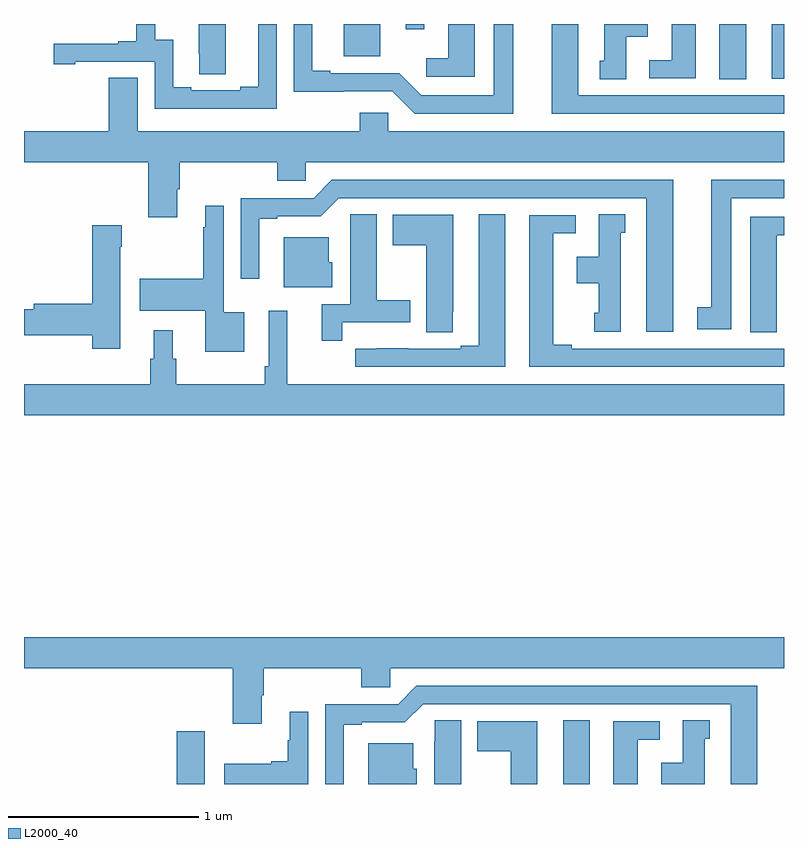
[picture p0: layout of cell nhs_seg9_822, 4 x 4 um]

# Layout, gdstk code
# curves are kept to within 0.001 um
import gdstk
lib = gdstk.Library(unit=1e-6, precision=1e-09)
def R(c, l, rs):  # rectangles x0, y0, x1, y1
    for r in rs: c.add(gdstk.rectangle(r[:2], r[2:], *l))
def P(c, l, *ps):  # polygons
    for p in ps: c.add(gdstk.Polygon(p, *l))
L2000_40 = (2000, 40)

nhs_seg9_822 = lib.new_cell('nhs_seg9_822')
R(nhs_seg9_822, L2000_40, [(155.804,1174.5,155.95,1174.777), (157.838,1174.5,157.978,1174.835), (158.66,1178.209,158.8,1178.5), (158.936,1178.213,159,1178.5), (156.683,1178.33,156.874,1178.5), (157.01,1178.472,157.107,1178.5)])
P(nhs_seg9_822, L2000_40, [(158.536,1178.5),(158.408,1178.5),(158.408,1178.31),(158.292,1178.31),(158.292,1178.214),(158.536,1178.214)],
  [(156.061,1178.5),(155.921,1178.5),(155.921,1178.344),(155.922,1178.344),(155.922,1178.236),(156.061,1178.236)],
  [(157.576,1178.5),(157.472,1178.5),(157.472,1178.124),(157.092,1178.124),(156.975,1178.241),(156.613,1178.241),(156.613,1178.254),(156.517,1178.254),(156.517,1178.5),(156.42,1178.5),(156.42,1178.144),(156.939,1178.145),(157.056,1178.028),(157.576,1178.028)],
  [(158.17,1178.432),(158.284,1178.432),(158.284,1178.5),(158.054,1178.5),(158.054,1178.307),(158.03,1178.307),(158.03,1178.209),(158.17,1178.209)],
  [(157.372,1178.5),(157.232,1178.5),(157.232,1178.32),(157.116,1178.32),(157.116,1178.223),(157.372,1178.223)],
  [(159,1178.124),(157.918,1178.124),(157.918,1178.5),(157.778,1178.5),(157.778,1178.028),(159,1178.028)],
  [(156.33,1178.5),(156.233,1178.5),(156.233,1178.171),(156.137,1178.171),(156.137,1178.151),(155.881,1178.151),(155.881,1178.166),(155.785,1178.166),(155.785,1178.417),(155.691,1178.417),(155.691,1178.5),(155.591,1178.5),(155.591,1178.41),(155.495,1178.41),(155.495,1178.397),(155.157,1178.397),(155.157,1178.289),(155.269,1178.289),(155.269,1178.301),(155.688,1178.301),(155.688,1178.055),(156.33,1178.055)],
  [(155.806,1177.63),(155.819,1177.63),(155.819,1177.772),(156.332,1177.772),(156.332,1177.674),(156.483,1177.674),(156.483,1177.772),(159,1177.772),(159,1177.936),(156.918,1177.936),(156.918,1178.034),(156.767,1178.034),(156.767,1177.936),(155.599,1177.936),(155.599,1178.216),(155.447,1178.216),(155.447,1177.936),(155,1177.936),(155,1177.772),(155.654,1177.772),(155.654,1177.482),(155.806,1177.482)],
  [(158.416,1177.68),(156.621,1177.68),(156.525,1177.584),(156.141,1177.584),(156.141,1177.158),(156.238,1177.158),(156.238,1177.476),(156.334,1177.476),(156.334,1177.488),(156.561,1177.488),(156.657,1177.584),(158.276,1177.584),(158.276,1176.879),(158.416,1176.879)],
  [(158.722,1177.584),(159,1177.584),(159,1177.68),(158.618,1177.68),(158.618,1177.01),(158.544,1177.01),(158.544,1176.894),(158.722,1176.894)],
  [(156.16,1176.982),(156.051,1176.982),(156.051,1177.543),(155.954,1177.543),(155.954,1177.43),(155.943,1177.43),(155.943,1177.158),(155.61,1177.158),(155.61,1176.992),(155.954,1176.992),(155.954,1176.776),(156.16,1176.776)],
  [(156.674,1176.93),(157.033,1176.93),(157.033,1177.047),(156.856,1177.047),(156.856,1177.499),(156.717,1177.499),(156.717,1177.388),(156.716,1177.388),(156.716,1177.026),(156.566,1177.026),(156.566,1176.834),(156.674,1176.834)],
  [(158.14,1177.401),(158.164,1177.401),(158.164,1177.499),(158.024,1177.499),(158.024,1177.276),(157.91,1177.276),(157.91,1177.136),(158.024,1177.136),(158.024,1176.981),(158,1176.981),(158,1176.879),(158.14,1176.879)],
  [(157.534,1177.499),(157.394,1177.499),(157.394,1176.807),(157.298,1176.807),(157.298,1176.792),(157.022,1176.792),(157.022,1176.793),(156.856,1176.793),(156.856,1176.792),(156.744,1176.792),(156.744,1176.696),(157.534,1176.696)],
  [(157.257,1176.985),(157.258,1176.985),(157.258,1177.495),(156.941,1177.495),(156.941,1177.336),(157.118,1177.336),(157.118,1176.877),(157.257,1176.877)],
  [(159,1176.792),(157.882,1176.792),(157.882,1176.812),(157.786,1176.812),(157.786,1177.398),(157.903,1177.398),(157.903,1177.494),(157.658,1177.494),(157.658,1176.696),(159,1176.696)],
  [(158.961,1176.985),(158.962,1176.985),(158.962,1177.388),(159,1177.388),(159,1177.485),(158.822,1177.485),(158.822,1176.877),(158.961,1176.877)],
  [(155.506,1177.328),(155.514,1177.328),(155.514,1177.441),(155.36,1177.441),(155.36,1177.028),(155.051,1177.028),(155.051,1176.998),(155,1176.998),(155,1176.863),(155.36,1176.863),(155.36,1176.792),(155.506,1176.792)],
  [(156.622,1177.245),(156.604,1177.245),(156.604,1177.378),(156.368,1177.378),(156.368,1177.115),(156.622,1177.115)],
  [(159,1176.604),(156.386,1176.604),(156.386,1176.991),(156.288,1176.991),(156.288,1176.7),(156.268,1176.7),(156.268,1176.604),(155.801,1176.604),(155.801,1176.738),(155.782,1176.738),(155.782,1176.889),(155.684,1176.889),(155.684,1176.738),(155.665,1176.738),(155.665,1176.604),(155,1176.604),(155,1176.44),(159,1176.44)],
  [(156.25,1174.966),(156.263,1174.966),(156.263,1175.108),(156.776,1175.108),(156.776,1175.01),(156.927,1175.01),(156.927,1175.108),(159,1175.108),(159,1175.272),(155,1175.272),(155,1175.108),(156.098,1175.108),(156.098,1174.818),(156.25,1174.818)],
  [(156.682,1174.812),(156.778,1174.812),(156.778,1174.824),(157.005,1174.824),(157.101,1174.92),(158.72,1174.92),(158.72,1174.5),(158.86,1174.5),(158.86,1175.016),(157.065,1175.016),(156.969,1174.92),(156.585,1174.92),(156.585,1174.5),(156.682,1174.5)],
  [(156.495,1174.879),(156.398,1174.879),(156.398,1174.73),(156.387,1174.73),(156.387,1174.619),(156.302,1174.619),(156.302,1174.606),(156.054,1174.606),(156.054,1174.5),(156.495,1174.5)],
  [(157.3,1174.835),(157.161,1174.835),(157.161,1174.724),(157.16,1174.724),(157.16,1174.5),(157.3,1174.5)],
  [(158.584,1174.737),(158.608,1174.737),(158.608,1174.835),(158.468,1174.835),(158.468,1174.612),(158.354,1174.612),(158.354,1174.5),(158.584,1174.5)],
  [(157.702,1174.831),(157.385,1174.831),(157.385,1174.672),(157.562,1174.672),(157.562,1174.5),(157.702,1174.5)],
  [(158.23,1174.734),(158.347,1174.734),(158.347,1174.83),(158.102,1174.83),(158.102,1174.5),(158.23,1174.5)],
  [(157.066,1174.581),(157.048,1174.581),(157.048,1174.714),(156.812,1174.714),(156.812,1174.5),(157.066,1174.5)])

lib.write_gds('nhs_seg9_822.gds')
